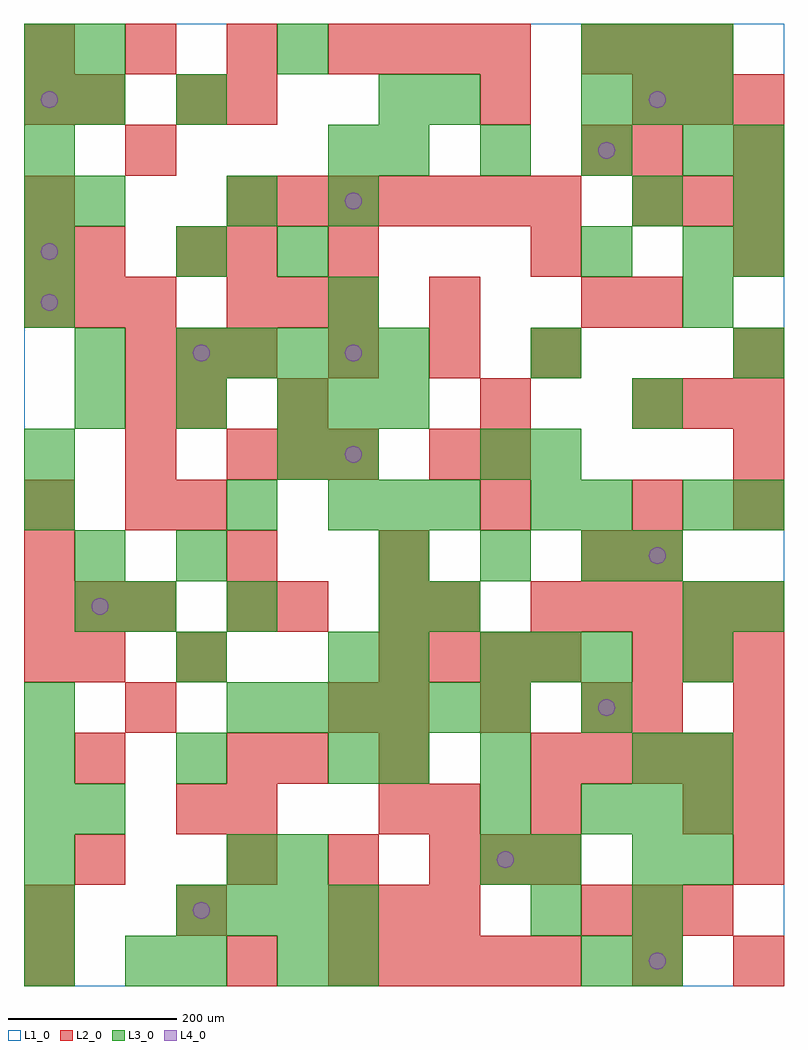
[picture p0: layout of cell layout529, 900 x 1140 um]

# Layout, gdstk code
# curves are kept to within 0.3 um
import gdstk
lib = gdstk.Library(unit=1e-6, precision=1e-09)
def R(c, l, rs):  # rectangles x0, y0, x1, y1
    for r in rs: c.add(gdstk.rectangle(r[:2], r[2:], *l))
def A(c, l, x, y, w, h, nx, ny, dx, dy):  # array of equal rectangles
    R(c, l, [(x+i*dx, y+j*dy, x+i*dx+w, y+j*dy+h) for i in range(nx) for j in range(ny)])
def P(c, l, *ps):  # polygons
    for p in ps: c.add(gdstk.Polygon(p, *l))
L1_0 = (1, 0)
L2_0 = (2, 0)
L3_0 = (3, 0)
L4_0 = (4, 0)

layout529 = lib.new_cell('layout529')
R(layout529, L1_0, [(0,0,900,1140)])
A(layout529, L2_0, 360, 0, 60, 60, 5, 1, 60, 0)
A(layout529, L2_0, 0, 60, 60, 60, 3, 1, 180, 0)
A(layout529, L2_0, 660, 60, 60, 60, 3, 2, 60, 1020)
A(layout529, L2_0, 60, 120, 60, 60, 1, 3, 0, 120)
A(layout529, L2_0, 240, 120, 60, 60, 3, 1, 120, 0)
A(layout529, L2_0, 180, 180, 60, 60, 1, 3, 0, 180)
A(layout529, L2_0, 600, 240, 60, 60, 5, 2, 60, 180)
A(layout529, L2_0, 420, 300, 60, 60, 3, 1, 120, 0)
A(layout529, L2_0, 420, 360, 60, 60, 4, 1, 60, 0)
A(layout529, L2_0, 720, 360, 60, 60, 3, 2, 60, 300)
A(layout529, L2_0, 0, 420, 60, 60, 3, 2, 60, 360)
A(layout529, L2_0, 480, 420, 60, 60, 1, 3, 0, 180)
A(layout529, L2_0, 120, 540, 60, 60, 1, 3, 0, 60)
A(layout529, L2_0, 540, 540, 60, 60, 1, 3, 0, 60)
A(layout529, L2_0, 240, 600, 60, 60, 3, 2, 60, 180)
A(layout529, L2_0, 180, 660, 60, 60, 1, 3, 0, 180)
A(layout529, L2_0, 120, 720, 60, 60, 3, 1, 60, 0)
A(layout529, L2_0, 360, 720, 60, 60, 3, 1, 120, 0)
A(layout529, L2_0, 360, 840, 60, 60, 3, 1, 240, 0)
A(layout529, L2_0, 240, 900, 60, 60, 7, 1, 60, 0)
A(layout529, L2_0, 720, 900, 60, 60, 3, 2, 60, 120)
A(layout529, L2_0, 0, 1080, 60, 60, 4, 1, 120, 0)
A(layout529, L2_0, 420, 1080, 60, 60, 3, 1, 60, 0)
R(layout529, L2_0, [(0,0,60,60), (240,0,300,60), (720,0,780,60), (840,0,900,60), (420,60,480,120), (480,60,540,120), (540,120,600,180), (600,120,660,180), (840,120,900,180), (240,180,300,240), (420,180,480,240), (480,180,540,240), (600,180,660,240), (780,180,840,240), (840,180,900,240), (240,240,300,300), (300,240,360,300), (420,240,480,300), (120,300,180,360), (360,300,420,360), (720,300,780,360), (840,300,900,360), (0,360,60,420), (240,420,300,480), (300,420,360,480), (420,420,480,480), (0,480,60,540), (240,480,300,540), (420,480,480,540), (660,480,720,540), (720,480,780,540), (0,540,60,600), (720,540,780,600), (840,540,900,600), (840,600,900,660), (300,660,360,720), (840,720,900,780), (660,780,720,840), (720,780,780,840), (0,840,60,900), (60,840,120,900), (240,840,300,900), (0,900,60,960), (120,960,180,1020), (660,960,720,1020), (720,960,780,1020), (840,960,900,1020), (0,1020,60,1080), (60,1020,120,1080), (240,1020,300,1080), (540,1020,600,1080)])
A(layout529, L3_0, 0, 0, 60, 60, 1, 4, 0, 60)
A(layout529, L3_0, 720, 0, 60, 60, 1, 3, 0, 60)
A(layout529, L3_0, 180, 60, 60, 60, 4, 1, 60, 0)
A(layout529, L3_0, 540, 120, 60, 60, 1, 3, 0, 60)
A(layout529, L3_0, 780, 120, 60, 60, 1, 3, 0, 120)
A(layout529, L3_0, 660, 180, 60, 60, 3, 2, 60, 840)
A(layout529, L3_0, 0, 240, 60, 60, 3, 1, 180, 0)
A(layout529, L3_0, 240, 300, 60, 60, 6, 1, 60, 0)
A(layout529, L3_0, 540, 360, 60, 60, 3, 1, 60, 0)
A(layout529, L3_0, 420, 480, 60, 60, 3, 1, 120, 0)
A(layout529, L3_0, 360, 540, 60, 60, 3, 1, 60, 0)
A(layout529, L3_0, 300, 600, 60, 60, 1, 3, 0, 240)
A(layout529, L3_0, 60, 660, 60, 60, 3, 1, 120, 0)
A(layout529, L3_0, 360, 660, 60, 60, 1, 3, 0, 120)
A(layout529, L3_0, 180, 720, 60, 60, 5, 1, 60, 0)
A(layout529, L3_0, 0, 780, 60, 60, 1, 6, 0, 60)
A(layout529, L3_0, 840, 840, 60, 60, 1, 3, 0, 60)
A(layout529, L3_0, 420, 960, 60, 60, 4, 1, 120, 0)
A(layout529, L3_0, 660, 1080, 60, 60, 3, 1, 60, 0)
R(layout529, L3_0, [(120,0,180,60), (180,0,240,60), (300,0,360,60), (360,0,420,60), (660,0,720,60), (600,60,660,120), (240,120,300,180), (300,120,360,180), (600,120,660,180), (60,180,120,240), (420,240,480,300), (720,240,780,300), (0,300,60,360), (660,300,720,360), (180,360,240,420), (360,360,420,420), (420,360,480,420), (60,420,120,480), (120,420,180,480), (240,420,300,480), (420,420,480,480), (480,420,540,480), (780,420,840,480), (840,420,900,480), (60,480,120,540), (180,480,240,540), (720,480,780,540), (0,540,60,600), (240,540,300,600), (600,540,660,600), (660,540,720,600), (780,540,840,600), (840,540,900,600), (0,600,60,660), (360,600,420,660), (540,600,600,660), (600,600,660,660), (420,660,480,720), (720,660,780,720), (60,720,120,780), (600,720,660,780), (840,720,900,780), (780,780,840,840), (180,840,240,900), (660,840,720,900), (780,840,840,900), (60,900,120,960), (240,900,300,960), (720,900,780,960), (360,960,420,1020), (60,1020,120,1080), (180,1020,240,1080), (420,1020,480,1080), (480,1020,540,1080), (60,1080,120,1140)])
P(layout529, L4_0, [(40,810),(39.239,813.827),(37.071,817.071),(33.827,819.239),(30,820),(26.173,819.239),(22.929,817.071),(20.761,813.827),(20,810),(20.761,806.173),(22.929,802.929),(26.173,800.761),(30,800),(33.827,800.761),(37.071,802.929),(39.239,806.173)],
  [(40,870),(39.239,873.827),(37.071,877.071),(33.827,879.239),(30,880),(26.173,879.239),(22.929,877.071),(20.761,873.827),(20,870),(20.761,866.173),(22.929,862.929),(26.173,860.761),(30,860),(33.827,860.761),(37.071,862.929),(39.239,866.173)],
  [(40,1050),(39.239,1053.827),(37.071,1057.071),(33.827,1059.239),(30,1060),(26.173,1059.239),(22.929,1057.071),(20.761,1053.827),(20,1050),(20.761,1046.173),(22.929,1042.929),(26.173,1040.761),(30,1040),(33.827,1040.761),(37.071,1042.929),(39.239,1046.173)],
  [(100,450),(99.239,453.827),(97.071,457.071),(93.827,459.239),(90,460),(86.173,459.239),(82.929,457.071),(80.761,453.827),(80,450),(80.761,446.173),(82.929,442.929),(86.173,440.761),(90,440),(93.827,440.761),(97.071,442.929),(99.239,446.173)],
  [(220,90),(219.239,93.827),(217.071,97.071),(213.827,99.239),(210,100),(206.173,99.239),(202.929,97.071),(200.761,93.827),(200,90),(200.761,86.173),(202.929,82.929),(206.173,80.761),(210,80),(213.827,80.761),(217.071,82.929),(219.239,86.173)],
  [(220,750),(219.239,753.827),(217.071,757.071),(213.827,759.239),(210,760),(206.173,759.239),(202.929,757.071),(200.761,753.827),(200,750),(200.761,746.173),(202.929,742.929),(206.173,740.761),(210,740),(213.827,740.761),(217.071,742.929),(219.239,746.173)],
  [(400,630),(399.239,633.827),(397.071,637.071),(393.827,639.239),(390,640),(386.173,639.239),(382.929,637.071),(380.761,633.827),(380,630),(380.761,626.173),(382.929,622.929),(386.173,620.761),(390,620),(393.827,620.761),(397.071,622.929),(399.239,626.173)],
  [(400,750),(399.239,753.827),(397.071,757.071),(393.827,759.239),(390,760),(386.173,759.239),(382.929,757.071),(380.761,753.827),(380,750),(380.761,746.173),(382.929,742.929),(386.173,740.761),(390,740),(393.827,740.761),(397.071,742.929),(399.239,746.173)],
  [(400,930),(399.239,933.827),(397.071,937.071),(393.827,939.239),(390,940),(386.173,939.239),(382.929,937.071),(380.761,933.827),(380,930),(380.761,926.173),(382.929,922.929),(386.173,920.761),(390,920),(393.827,920.761),(397.071,922.929),(399.239,926.173)],
  [(580,150),(579.239,153.827),(577.071,157.071),(573.827,159.239),(570,160),(566.173,159.239),(562.929,157.071),(560.761,153.827),(560,150),(560.761,146.173),(562.929,142.929),(566.173,140.761),(570,140),(573.827,140.761),(577.071,142.929),(579.239,146.173)],
  [(700,330),(699.239,333.827),(697.071,337.071),(693.827,339.239),(690,340),(686.173,339.239),(682.929,337.071),(680.761,333.827),(680,330),(680.761,326.173),(682.929,322.929),(686.173,320.761),(690,320),(693.827,320.761),(697.071,322.929),(699.239,326.173)],
  [(700,990),(699.239,993.827),(697.071,997.071),(693.827,999.239),(690,1000),(686.173,999.239),(682.929,997.071),(680.761,993.827),(680,990),(680.761,986.173),(682.929,982.929),(686.173,980.761),(690,980),(693.827,980.761),(697.071,982.929),(699.239,986.173)],
  [(760,30),(759.239,33.827),(757.071,37.071),(753.827,39.239),(750,40),(746.173,39.239),(742.929,37.071),(740.761,33.827),(740,30),(740.761,26.173),(742.929,22.929),(746.173,20.761),(750,20),(753.827,20.761),(757.071,22.929),(759.239,26.173)],
  [(760,510),(759.239,513.827),(757.071,517.071),(753.827,519.239),(750,520),(746.173,519.239),(742.929,517.071),(740.761,513.827),(740,510),(740.761,506.173),(742.929,502.929),(746.173,500.761),(750,500),(753.827,500.761),(757.071,502.929),(759.239,506.173)],
  [(760,1050),(759.239,1053.827),(757.071,1057.071),(753.827,1059.239),(750,1060),(746.173,1059.239),(742.929,1057.071),(740.761,1053.827),(740,1050),(740.761,1046.173),(742.929,1042.929),(746.173,1040.761),(750,1040),(753.827,1040.761),(757.071,1042.929),(759.239,1046.173)])

lib.write_gds('layout529.gds')
